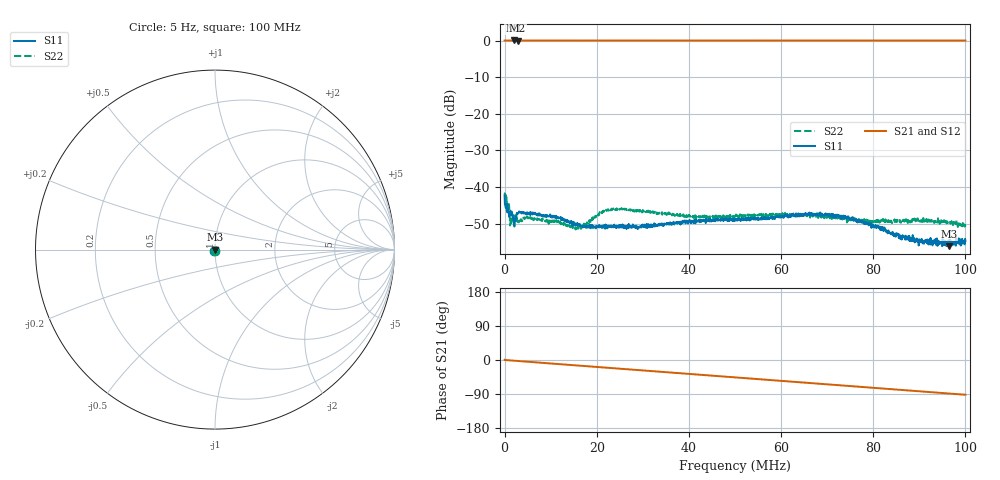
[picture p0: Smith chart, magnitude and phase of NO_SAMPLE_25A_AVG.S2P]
!Agilent Technologies,E5061B,MY49102235,A.02.00
!Date: Tue Jul 11 14:27:52 2023
!Data & Calibration Information:
!Freq	S11:SOLT2(ON)	S21:SOLT2(ON)	S12:SOLT2(ON)	S22:SOLT2(ON)
# Hz S RI R 50
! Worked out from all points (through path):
!   1600 points, 5 Hz to 100 MHz, reference 50 ohm
!   highest |S21| = 0.02 dB at 2.001 MHz (marker M1); lowest = 0.0 dB at 2.814 MHz (marker M2)
!   group delay of S21, straight-line fit = 2.55 ns
!   lowest |S11| = -56.2 dB at 96.44 MHz (marker M3), VSWR 1.00, Z = 49.9 - j0.108 ohm
!   |S11| at or under -10 dB: start of sweep to end of sweep
!   |S22| runs from -51.6 to -41.7 dB; largest |S21 - S12| = 0.0029
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5  -0.00521 -0.00563  1.001 0.00779  0.9998 0.0103  -0.00154 -0.00753
625395.8  0.00504 6.79e-05  1.002 -0.00971  1.002 -0.009  0.00609 -0.000347
1000630  0.00389 0.000406  1.001 -0.015  1.001 -0.0146  0.00525 -0.000526
1500943  0.00449 -0.000757  1.001 -0.0228  1.002 -0.0226  0.00315 -0.00192
2001256  0.0032 -0.000484  1.002 -0.0321  1.001 -0.0315  0.00331 -0.000185
2439029  0.00394 -0.000173  1 -0.0395  0.9997 -0.0389  0.00378 0.000294
2814264  0.00438 -0.000146  0.9992 -0.0453  0.9995 -0.0444  0.00337 7.34e-05
4878054  0.00449 -0.000559  0.9982 -0.0778  0.9978 -0.0775  0.00396 -0.000176
1.081927e7  0.00297 -0.0024  0.9863 -0.1724  0.9861 -0.172  0.00196 -0.00269
1.525954e7  0.00168 -0.00257  0.9713 -0.2421  0.9711 -0.2413  0.00113 -0.00258
1.669794e7  0.00177 -0.00232  0.9653 -0.2642  0.9652 -0.2637  0.00135 -0.0024
2.107568e7  0.00206 -0.00183  0.9447 -0.3311  0.9444 -0.3308  0.00372 -0.0025
2.320201e7  0.00217 -0.00178  0.9328 -0.3632  0.9327 -0.3629  0.0041 -0.00272
3.333334e7  0.00169 -0.00259  0.862 -0.5091  0.8618 -0.5085  0.00263 -0.00343
4.402752e7  0.00167 -0.00318  0.7625 -0.6485  0.7627 -0.648  0.00124 -0.00375
5.003127e7  0.00147 -0.00327  0.697 -0.7188  0.6969 -0.7183  0.000925 -0.00392
6.672921e7  -0.00105 -0.00424  0.4821 -0.8773  0.4825 -0.877  -0.000648 -0.00398
7.404628e7  -0.00131 -0.00354  0.3763 -0.9275  0.3766 -0.9271  -0.000995 -0.00355
8.33646e7  -0.00125 -0.00208  0.2345 -0.9732  0.2346 -0.9731  -0.000794 -0.00326
8.943089e7  -0.00125 -0.00154  0.1388 -0.9912  0.1392 -0.9911  -0.000918 -0.00345
9.643527e7  -0.00112 -0.00108  0.027 -1  0.0273 -1  -0.00108 -0.00314
1e8  -0.00139 -0.00119  -0.0301 -1  -0.0298 -1  -0.00113 -0.0028
